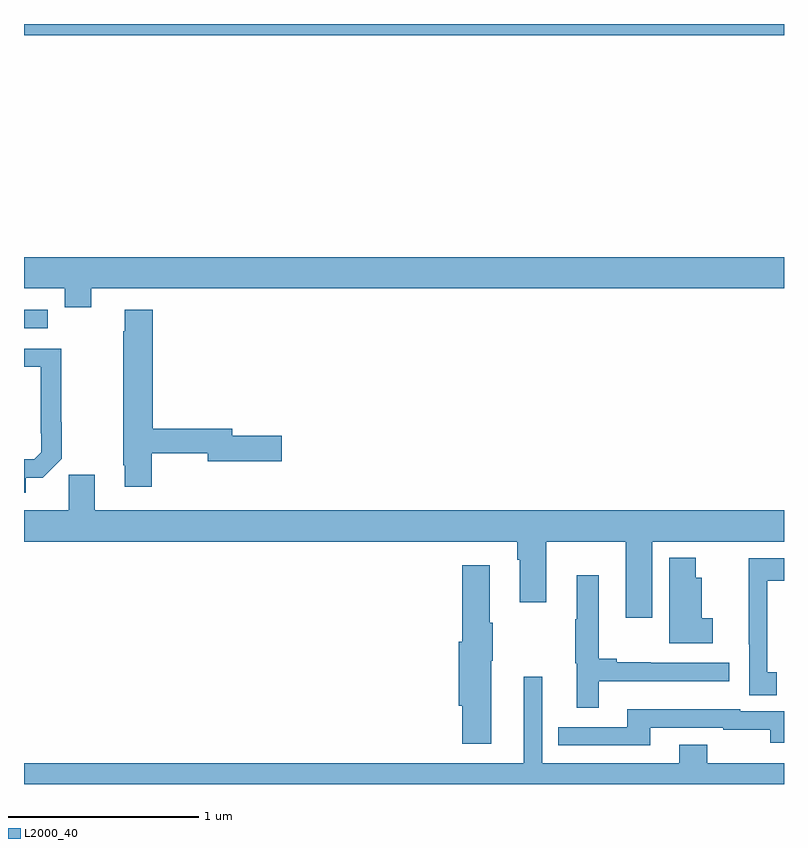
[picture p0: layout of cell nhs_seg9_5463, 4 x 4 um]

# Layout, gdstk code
import gdstk
lib = gdstk.Library(unit=1e-6, precision=1e-09)
def R(c, l, rs):  # rectangles x0, y0, x1, y1
    for r in rs: c.add(gdstk.rectangle(r[:2], r[2:], *l))
def P(c, l, *ps):  # polygons
    for p in ps: c.add(gdstk.Polygon(p, *l))
L2000_40 = (2000, 40)

nhs_seg9_5463 = lib.new_cell('nhs_seg9_5463')
R(nhs_seg9_5463, L2000_40, [(429,1174.899,429.124,1174.995), (429,1176.44,433,1176.5)])
P(nhs_seg9_5463, L2000_40, [(429.355,1175.108),(433,1175.108),(433,1175.272),(429,1175.272),(429,1175.108),(429.215,1175.108),(429.215,1175.009),(429.355,1175.009)],
  [(429.672,1174.242),(429.968,1174.242),(429.968,1174.199),(430.357,1174.199),(430.357,1174.334),(430.096,1174.334),(430.096,1174.37),(429.677,1174.37),(429.677,1174.996),(429.53,1174.996),(429.53,1174.883),(429.523,1174.883),(429.523,1174.177),(429.53,1174.177),(429.53,1174.065),(429.672,1174.065)],
  [(429.009,1174.113),(429.098,1174.113),(429.198,1174.212),(429.198,1174.403),(429.196,1174.403),(429.196,1174.791),(429,1174.791),(429,1174.695),(429.087,1174.695),(429.087,1174.345),(429.09,1174.345),(429.09,1174.245),(429.054,1174.209),(429,1174.209),(429,1174.032),(429.009,1174.032)],
  [(432.307,1173.776),(433,1173.776),(433,1173.94),(429.373,1173.94),(429.373,1174.128),(429.235,1174.128),(429.235,1173.94),(429,1173.94),(429,1173.776),(431.597,1173.776),(431.597,1173.68),(431.609,1173.68),(431.609,1173.456),(431.749,1173.456),(431.749,1173.776),(432.167,1173.776),(432.167,1173.375),(432.307,1173.375)],
  [(432.625,1173.372),(432.568,1173.372),(432.568,1173.586),(432.535,1173.586),(432.535,1173.691),(432.395,1173.691),(432.395,1173.242),(432.625,1173.242)],
  [(432.962,1173.087),(432.913,1173.087),(432.913,1173.57),(433,1173.57),(433,1173.688),(432.814,1173.688),(432.814,1173.235),(432.816,1173.235),(432.816,1172.968),(432.962,1172.968)],
  [(431.458,1173.149),(431.466,1173.149),(431.466,1173.349),(431.452,1173.349),(431.452,1173.652),(431.306,1173.652),(431.306,1173.249),(431.288,1173.249),(431.288,1172.913),(431.306,1172.913),(431.306,1172.712),(431.458,1172.712)],
  [(432.025,1173.041),(432.712,1173.041),(432.712,1173.138),(432.299,1173.138),(432.299,1173.141),(432.121,1173.141),(432.121,1173.158),(432.025,1173.158),(432.025,1173.598),(431.909,1173.598),(431.909,1173.368),(431.902,1173.368),(431.902,1173.135),(431.909,1173.135),(431.909,1172.901),(432.025,1172.901)],
  [(433,1172.608),(432.597,1172.608),(432.597,1172.707),(432.449,1172.707),(432.449,1172.608),(431.727,1172.608),(431.727,1173.064),(431.63,1173.064),(431.63,1172.608),(429,1172.608),(429,1172.5),(433,1172.5)],
  [(432.295,1172.796),(432.681,1172.796),(432.681,1172.786),(432.928,1172.786),(432.928,1172.717),(433,1172.717),(433,1172.883),(432.771,1172.883),(432.771,1172.893),(432.176,1172.893),(432.176,1172.799),(431.812,1172.799),(431.812,1172.703),(432.295,1172.703)])

lib.write_gds('nhs_seg9_5463.gds')
